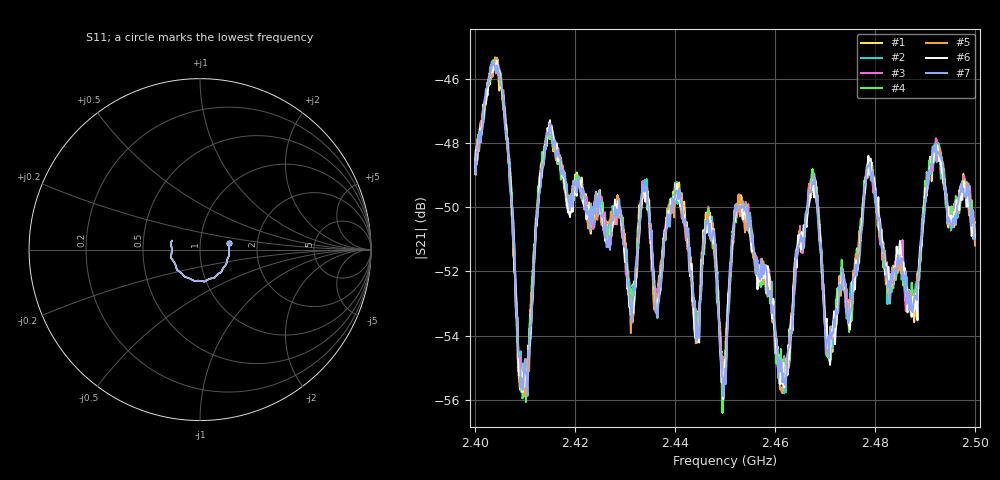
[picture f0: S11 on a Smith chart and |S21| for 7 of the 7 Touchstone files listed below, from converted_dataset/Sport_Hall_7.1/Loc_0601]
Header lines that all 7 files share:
# Hz S RI R 50
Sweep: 2.4 GHz to 2.5 GHz
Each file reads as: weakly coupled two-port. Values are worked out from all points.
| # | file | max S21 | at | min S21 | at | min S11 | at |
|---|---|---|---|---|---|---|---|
| 1 | Lab_139_1Ch1.s2p | -45.39 dB | 2.4045 GHz | -55.7 dB | 2.409 GHz | -15.6 dB | 2.4928 GHz |
| 2 | Lab_139_3Ch1.s2p | -45.53 dB | 2.404 GHz | -55.8 dB | 2.4618 GHz | -15.6 dB | 2.4932 GHz |
| 3 | Lab_139_4Ch1.s2p | -45.49 dB | 2.4037 GHz | -55.6 dB | 2.41 GHz | -15.6 dB | 2.4928 GHz |
| 4 | Lab_139_5Ch1.s2p | -45.42 dB | 2.4037 GHz | -56.4 dB | 2.4495 GHz | -15.6 dB | 2.4932 GHz |
| 5 | Lab_139_6Ch1.s2p | -45.33 dB | 2.404 GHz | -55.9 dB | 2.41 GHz | -15.7 dB | 2.4928 GHz |
| 6 | Lab_139_8Ch1.s2p | -45.43 dB | 2.4043 GHz | -56.0 dB | 2.4497 GHz | -15.6 dB | 2.4932 GHz |
| 7 | Lab_139_10Ch1.s2p | -45.47 dB | 2.4037 GHz | -55.9 dB | 2.4497 GHz | -15.6 dB | 2.4928 GHz |
